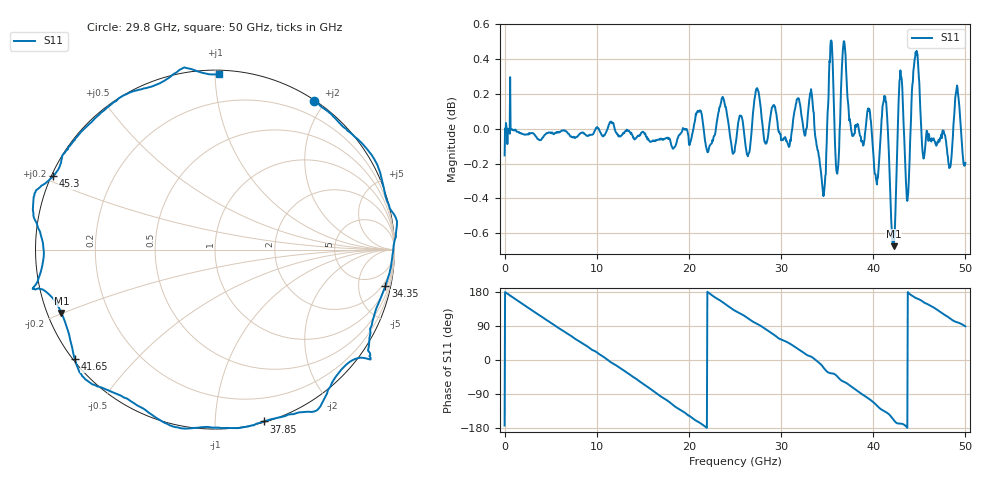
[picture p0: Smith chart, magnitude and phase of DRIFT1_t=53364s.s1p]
!Created with skrf (http://scikit-rf.org).
# Hz S RI R 50.0
!freq ReS11 ImS11
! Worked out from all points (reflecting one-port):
!   1001 points, 300 kHz to 50 GHz, reference 50 ohm
!   lowest |S11| = -0.7 dB at 42.2 GHz (marker M1), VSWR 25.78, Z = 2.01 - j9.88 ohm
!   phase of S11 starts at -173 deg and turns -818 deg over the sweep
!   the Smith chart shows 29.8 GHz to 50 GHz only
!   S11 on the Smith chart (normalised r, x): 29.8 GHz: 0.00, +1.87; 34.35 GHz: 1.32, -9.25; 37.85 GHz: 0.01, -1.33; 41.65 GHz: 0.00, -0.34; 45.3 GHz: 0.01, +0.22; 50 GHz: 0.02, +1.02
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300000  -0.9749 -0.1222
1.450291e9  -0.9124 0.4043
3.25028e9  -0.5926 0.8008
6.250262e9  0.2005 0.9785
9.500243e9  0.891 0.4453
1.250022e10  0.932 -0.3483
1.580021e10  0.2408 -0.9617
1.74002e10  -0.2208 -0.9687
1.875019e10  -0.5969 -0.7942
2.150017e10  -0.9918 -0.1583
2.345016e10  -0.9292 0.413
2.500015e10  -0.6345 0.7575
2.740014e10  -0.0982 1.023
2.980012e10  0.5538 0.8304
3.125011e10  0.7839 0.6242
3.31501e10  1.008 0.1754
3.435009e10  0.9491 -0.2035
3.520009e10  0.8624 -0.575
3.750008e10  0.3767 -0.9311
3.785007e10  0.2733 -0.9573
3.960006e10  -0.2363 -0.9847
4.165005e10  -0.7815 -0.6097
4.220005e10  -0.8556 -0.3524
4.290004e10  -1.01 -0.2193
4.375004e10  -0.9563 0.0107
4.530003e10  -0.9005 0.4089
4.765001e10  -0.5074 0.8601
5e10  0.0207 0.9775
